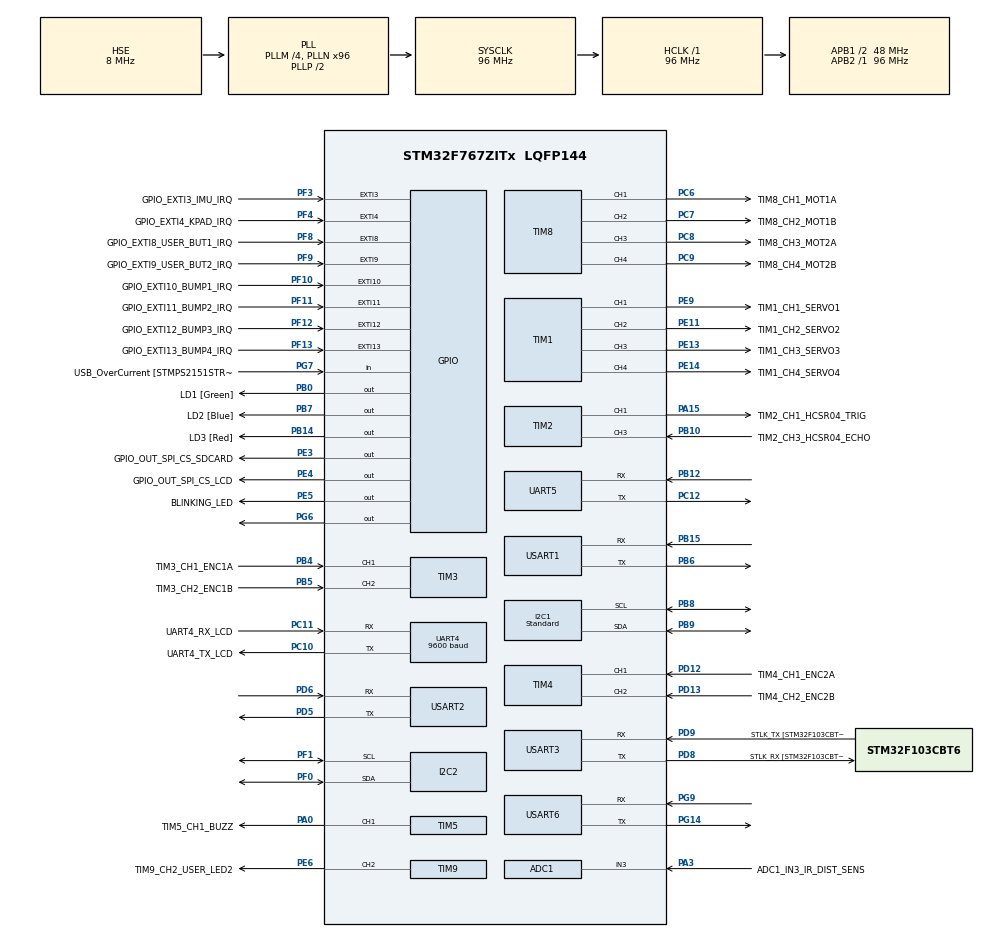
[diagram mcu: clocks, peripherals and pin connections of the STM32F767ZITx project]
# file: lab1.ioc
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ADC1.Channel-1\#ChannelRegularConversion=ADC_CHANNEL_3
ADC1.NbrOfConversionFlag=1
ADC1.Rank-1\#ChannelRegularConversion=1
ADC1.SamplingTime-1\#ChannelRegularConversion=ADC_SAMPLETIME_3CYCLES
ADC1.master=1
I2C1.I2C_Speed_Mode=I2C_Standard
I2C1.Timing=0x20303E5D
I2C2.Timing=0x20303E5D
Mcu.Family=STM32F7
Mcu.Name=STM32F767ZITx
Mcu.Package=LQFP144
Mcu.UserConstants=TIM8_PSC_VALUE,959;TIM8_ARR_VALUE,400;TIM1_PSC_VALUE,959;TIM1_ARR_VALUE,200
NVIC.EXTI4_IRQn=true\:1\:0\:true\:false\:true\:true\:true\:true
NVIC.PriorityGroup=NVIC_PRIORITYGROUP_4
NVIC.TIM6_DAC_IRQn=true\:0\:0\:false\:false\:true\:true\:true\:true
PA0/WKUP.GPIO_Label=TIM5_CH1_BUZZ
PA0/WKUP.Signal=S_TIM5_CH1
PA1.GPIO_Label=RMII_REF_CLK [LAN8742A-CZ-TR_REFCLK0]
PA1.Signal=ETH_REF_CLK
PA10.GPIO_Label=USB_ID
PA10.Signal=USB_OTG_FS_ID
PA11.GPIO_Label=USB_DM
PA11.Signal=USB_OTG_FS_DM
PA12.GPIO_Label=USB_DP
PA12.Signal=USB_OTG_FS_DP
PA13.GPIO_Label=TMS
PA13.Mode=Serial_Wire
PA13.Signal=SYS_JTMS-SWDIO
PA14.GPIO_Label=TCK
PA14.Mode=Serial_Wire
PA14.Signal=SYS_JTCK-SWCLK
PA15.GPIO_Label=TIM2_CH1_HCSR04_TRIG
PA15.Signal=S_TIM2_CH1_ETR
PA2.GPIO_Label=RMII_MDIO [LAN8742A-CZ-TR_MDIO]
PA2.Signal=ETH_MDIO
PA3.GPIO_Label=ADC1_IN3_IR_DIST_SENS
PA3.Signal=ADCx_IN3
PA7.GPIO_Label=RMII_CRS_DV [LAN8742A-CZ-TR_CRS_DV]
PA7.Signal=ETH_CRS_DV
PA8.GPIO_Label=USB_SOF [TP1]
PA8.Signal=USB_OTG_FS_SOF
PA9.GPIO_Label=USB_VBUS
PA9.Signal=USB_OTG_FS_VBUS
PB0.GPIO_Label=LD1 [Green]
PB0.Signal=GPIO_Output
PB10.GPIO_Label=TIM2_CH3_HCSR04_ECHO
PB10.Signal=S_TIM2_CH3
PB12.Mode=Asynchronous
PB12.Signal=UART5_RX
PB13.GPIO_Label=RMII_TXD1 [LAN8742A-CZ-TR_TXD1]
PB13.Signal=ETH_TXD1
PB14.GPIO_Label=LD3 [Red]
PB14.Signal=GPIO_Output
PB15.Mode=Asynchronous
PB15.Signal=USART1_RX
PB3.GPIO_Label=SWO
PB3.Signal=SYS_JTDO-SWO
PB4.GPIO_Label=TIM3_CH1_ENC1A
PB4.Signal=S_TIM3_CH1
PB5.GPIO_Label=TIM3_CH2_ENC1B
PB5.Signal=S_TIM3_CH2
PB6.Mode=Asynchronous
PB6.Signal=USART1_TX
PB7.GPIO_Label=LD2 [Blue]
PB7.Signal=GPIO_Output
PB8.GPIO_Pu=GPIO_PULLUP
PB8.Mode=I2C
PB8.Signal=I2C1_SCL
PB9.GPIO_Pu=GPIO_PULLUP
PB9.Mode=I2C
PB9.Signal=I2C1_SDA
PC1.GPIO_Label=RMII_MDC [LAN8742A-CZ-TR_MDC]
PC1.Signal=ETH_MDC
PC10.GPIO_Label=UART4_TX_LCD
PC10.Mode=Asynchronous
PC10.Signal=UART4_TX
PC11.GPIO_Label=UART4_RX_LCD
PC11.Mode=Asynchronous
PC11.Signal=UART4_RX
PC12.Mode=Asynchronous
PC12.Signal=UART5_TX
PC14/OSC32_IN.Mode=LSE-External-Oscillator
PC14/OSC32_IN.Signal=RCC_OSC32_IN
PC15/OSC32_OUT.Mode=LSE-External-Oscillator
PC15/OSC32_OUT.Signal=RCC_OSC32_OUT
PC4.GPIO_Label=RMII_RXD0 [LAN8742A-CZ-TR_RXD0]
PC4.Signal=ETH_RXD0
PC5.GPIO_Label=RMII_RXD1 [LAN8742A-CZ-TR_RXD1]
PC5.Signal=ETH_RXD1
PC6.GPIO_Label=TIM8_CH1_MOT1A
PC6.Signal=S_TIM8_CH1
PC7.GPIO_Label=TIM8_CH2_MOT1B
PC7.Signal=S_TIM8_CH2
PC8.GPIO_Label=TIM8_CH3_MOT2A
PC8.Signal=S_TIM8_CH3
PC9.GPIO_Label=TIM8_CH4_MOT2B
PC9.Signal=S_TIM8_CH4
PD12.GPIO_Label=TIM4_CH1_ENC2A
PD12.Signal=S_TIM4_CH1
PD13.GPIO_Label=TIM4_CH2_ENC2B
PD13.Signal=S_TIM4_CH2
PD5.Mode=Asynchronous
PD5.Signal=USART2_TX
PD6.Mode=Asynchronous
PD6.Signal=USART2_RX
PD8.GPIO_Label=STLK_RX [STM32F103CBT6_PA3]
PD8.Mode=Asynchronous
PD8.Signal=USART3_TX
PD9.GPIO_Label=STLK_TX [STM32F103CBT6_PA2]
PD9.Mode=Asynchronous
PD9.Signal=USART3_RX
PE11.GPIO_Label=TIM1_CH2_SERVO2
PE11.Signal=S_TIM1_CH2
PE13.GPIO_Label=TIM1_CH3_SERVO3
PE13.Signal=S_TIM1_CH3
PE14.GPIO_Label=TIM1_CH4_SERVO4
PE14.Signal=S_TIM1_CH4
PE3.GPIO_Label=GPIO_OUT_SPI_CS_SDCARD
PE3.Signal=GPIO_Output
PE4.GPIO_Label=GPIO_OUT_SPI_CS_LCD
PE4.Signal=GPIO_Output
PE5.GPIO_Label=BLINKING_LED
PE5.Signal=GPIO_Output
PE6.GPIO_Label=TIM9_CH2_USER_LED2
PE6.Signal=S_TIM9_CH2
PE9.GPIO_Label=TIM1_CH1_SERVO1
PE9.Signal=S_TIM1_CH1
PF0.GPIO_Pu=GPIO_PULLUP
PF0.Mode=I2C
PF0.Signal=I2C2_SDA
PF1.GPIO_Pu=GPIO_PULLUP
PF1.Mode=I2C
PF1.Signal=I2C2_SCL
PF10.GPIO_Label=GPIO_EXTI10_BUMP1_IRQ
PF10.Signal=GPXTI10
PF11.GPIO_Label=GPIO_EXTI11_BUMP2_IRQ
PF11.Signal=GPXTI11
PF12.GPIO_Label=GPIO_EXTI12_BUMP3_IRQ
PF12.Signal=GPXTI12
PF13.GPIO_Label=GPIO_EXTI13_BUMP4_IRQ
PF13.Signal=GPXTI13
PF3.GPIO_Label=GPIO_EXTI3_IMU_IRQ
PF3.Signal=GPXTI3
PF4.GPIO_Label=GPIO_EXTI4_KPAD_IRQ
PF4.GPIO_ModeDefaultEXTI=GPIO_MODE_IT_FALLING
PF4.Signal=GPXTI4
PF8.GPIO_Label=GPIO_EXTI8_USER_BUT1_IRQ
PF8.Signal=GPXTI8
PF9.GPIO_Label=GPIO_EXTI9_USER_BUT2_IRQ
PF9.Signal=GPXTI9
PG11.GPIO_Label=RMII_TX_EN [LAN8742A-CZ-TR_TXEN]
PG11.Signal=ETH_TX_EN
PG13.GPIO_Label=RMII_TXD0 [LAN8742A-CZ-TR_TXD0]
PG13.Signal=ETH_TXD0
PG14.Mode=Asynchronous
PG14.Signal=USART6_TX
PG6.Signal=GPIO_Output
PG7.GPIO_Label=USB_OverCurrent [STMPS2151STR_FAULT]
PG7.Signal=GPIO_Input
PG9.Mode=Asynchronous
PG9.Signal=USART6_RX
PH0/OSC_IN.GPIO_Label=MCO [STM32F103CBT6_PA8]
PH0/OSC_IN.Mode=HSE-External-Clock-Source
PH0/OSC_IN.Signal=RCC_OSC_IN
PH1/OSC_OUT.Mode=HSE-External-Clock-Source
PH1/OSC_OUT.Signal=RCC_OSC_OUT
ProjectManager.HeapSize=0x200
ProjectManager.StackSize=0x400
ProjectManager.TargetToolchain=STM32CubeIDE
RCC.48MHZClocksFreq_Value=24000000
RCC.AHBFreq_Value=96000000
RCC.APB1CLKDivider=RCC_HCLK_DIV2
RCC.APB1Freq_Value=48000000
RCC.APB1TimFreq_Value=96000000
RCC.APB2Freq_Value=96000000
RCC.APB2TimFreq_Value=96000000
RCC.CortexFreq_Value=96000000
RCC.HCLKFreq_Value=96000000
RCC.HSE_VALUE=8000000
RCC.HSI_VALUE=16000000
RCC.PLLM=4
RCC.PLLMUL=RCC_PLL_MUL9
RCC.PLLN=96
RCC.PLLQ=4
RCC.PLLSourceVirtual=RCC_PLLSOURCE_HSE
RCC.PRESCALERUSB=RCC_USBCLKSOURCE_PLL_DIV1_5
RCC.SYSCLKFreq_VALUE=96000000
RCC.SYSCLKSource=RCC_SYSCLKSOURCE_PLLCLK
RCC.SYSCLKSourceVirtual=RCC_SYSCLKSOURCE_PLLCLK
RCC.USBFreq_Value=48000000
RCC.VCOOutputFreq_Value=192000000
SH.ADCx_IN3.0=ADC1_IN3,IN3
SH.S_TIM1_CH1.0=TIM1_CH1,PWM Generation1 CH1
SH.S_TIM1_CH2.0=TIM1_CH2,PWM Generation2 CH2
SH.S_TIM1_CH3.0=TIM1_CH3,PWM Generation3 CH3
SH.S_TIM1_CH4.0=TIM1_CH4,PWM Generation4 CH4
SH.S_TIM2_CH1_ETR.0=TIM2_CH1,PWM Generation1 CH1
SH.S_TIM2_CH3.0=TIM2_CH3,Input_Capture3_from_TI3
SH.S_TIM3_CH1.0=TIM3_CH1,Encoder_Interface
SH.S_TIM3_CH2.0=TIM3_CH2,Encoder_Interface
SH.S_TIM4_CH1.0=TIM4_CH1,Encoder_Interface
SH.S_TIM4_CH2.0=TIM4_CH2,Encoder_Interface
SH.S_TIM5_CH1.0=TIM5_CH1,PWM Generation1 CH1
SH.S_TIM8_CH1.0=TIM8_CH1,PWM Generation1 CH1
SH.S_TIM8_CH2.0=TIM8_CH2,PWM Generation2 CH2
SH.S_TIM8_CH3.0=TIM8_CH3,PWM Generation3 CH3
SH.S_TIM8_CH4.0=TIM8_CH4,PWM Generation4 CH4
SH.S_TIM9_CH2.0=TIM9_CH2,PWM Generation2 CH2
TIM1.Channel-PWM\ Generation1\ CH1=TIM_CHANNEL_1
TIM1.Channel-PWM\ Generation2\ CH2=TIM_CHANNEL_2
TIM1.Channel-PWM\ Generation3\ CH3=TIM_CHANNEL_3
TIM1.Channel-PWM\ Generation4\ CH4=TIM_CHANNEL_4
TIM1.Period=TIM1_ARR_VALUE
TIM1.Prescaler=TIM1_PSC_VALUE
TIM2.Channel-Input_Capture3_from_TI3=TIM_CHANNEL_3
TIM2.Channel-PWM\ Generation1\ CH1=TIM_CHANNEL_1
TIM5.Channel-PWM\ Generation1\ CH1=TIM_CHANNEL_1
TIM6.Period=9999
TIM6.Prescaler=959
TIM8.Channel-PWM\ Generation1\ CH1=TIM_CHANNEL_1
TIM8.Channel-PWM\ Generation2\ CH2=TIM_CHANNEL_2
TIM8.Channel-PWM\ Generation3\ CH3=TIM_CHANNEL_3
TIM8.Channel-PWM\ Generation4\ CH4=TIM_CHANNEL_4
TIM8.Period=TIM8_ARR_VALUE
TIM8.Prescaler=TIM8_PSC_VALUE
TIM9.Channel-PWM\ Generation2\ CH2=TIM_CHANNEL_2
UART4.BaudRate=9600
USART1.VirtualMode-Asynchronous=VM_ASYNC
USART2.VirtualMode-Asynchronous=VM_ASYNC
USART3.VirtualMode-Asynchronous=VM_ASYNC
USART6.VirtualMode-Asynchronous=VM_ASYNC
VP_TIM1_VS_ClockSourceINT.Mode=Internal
VP_TIM2_VS_ClockSourceINT.Mode=Internal
VP_TIM5_VS_ClockSourceINT.Mode=Internal
VP_TIM6_VS_ClockSourceINT.Mode=Enable_Timer
VP_TIM8_VS_ClockSourceINT.Mode=Internal
board=NUCLEO-F767ZI

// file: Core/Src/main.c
/* USER CODE BEGIN Header */
/**
 ******************************************************************************
 * @file           : main.c
 * @brief          : Main program body
 ******************************************************************************
 * @attention
 *
 * <h2><center>&copy; Copyright (c) 2021 STMicroelectronics.
 * All rights reserved.</center></h2>
 *
 * This software component is licensed by ST under BSD 3-Clause license,
 * the "License"; You may not use this file except in compliance with the
 * License. You may obtain a copy of the License at:
 *                        opensource.org/licenses/BSD-3-Clause
 *
 ******************************************************************************
 */
/* USER CODE END Header */
#include "main.h"

/* USER CODE BEGIN Includes */

/*** NEEDED FOR ENABLING PRINTF ***/
#include <stdio.h>
#include <string.h>
#include "print_utils.h" //_write fun

/*** NEEDED FOR COMMUNICATING WITH THE SX1509 ***/
#include "SX1509_Registers.h"
#include "SX1509_Utils.h"

#include <stdbool.h>
/* USER CODE END Includes */

/* USER CODE BEGIN PD */
#define EXERCISE 5 // selects what the main loop runs: 3 (line sensor polling) or 5 (LED blinking)

#define MAX_BLINK_HZ 100 // upper bound for the frequency typed on the keypad
/* USER CODE END PD */

ADC_HandleTypeDef hadc1;

I2C_HandleTypeDef hi2c1;
I2C_HandleTypeDef hi2c2;

TIM_HandleTypeDef htim1;
TIM_HandleTypeDef htim2;
TIM_HandleTypeDef htim3;
TIM_HandleTypeDef htim4;
TIM_HandleTypeDef htim5;
TIM_HandleTypeDef htim6;
TIM_HandleTypeDef htim8;
TIM_HandleTypeDef htim9;

UART_HandleTypeDef huart4;
UART_HandleTypeDef huart5;
UART_HandleTypeDef huart1;
UART_HandleTypeDef huart2;
UART_HandleTypeDef huart3;
UART_HandleTypeDef huart6;

/* USER CODE BEGIN PV */
const char keypadLayout[4][4] = {
    {'*', '0', '#', 'D'},
    {'7', '8', '9', 'C'},
    {'4', '5', '6', 'B'},
    {'1', '2', '3', 'A'}};

// Exercise 5
volatile uint32_t ledFrequencyHz = 1; // blinking frequency
uint32_t typedFrequency = 0;          // digits typed so far
bool isTyping = false;                // true after the first digit of a new frequency
/* USER CODE END PV */

void SystemClock_Config(void);
static void MX_GPIO_Init(void);
static void MX_USART3_UART_Init(void);
static void MX_ADC1_Init(void);
static void MX_I2C1_Init(void);
static void MX_I2C2_Init(void);
static void MX_TIM1_Init(void);
static void MX_TIM2_Init(void);
static void MX_TIM3_Init(void);
static void MX_TIM4_Init(void);
static void MX_TIM5_Init(void);
static void MX_TIM8_Init(void);
static void MX_UART4_Init(void);
static void MX_UART5_Init(void);
static void MX_USART1_UART_Init(void);
static void MX_USART2_UART_Init(void);
static void MX_TIM9_Init(void);
static void MX_USART6_UART_Init(void);
static void MX_TIM6_Init(void);

/* USER CODE BEGIN 0 */

// Exercise 5
// Easy way: A, B, C, D are fixed presets (1, 2, 5, 10 Hz)
// Hard way: type the frequency with the digits and confirm with '#', '*' clears
// 0# switches the LED off
void setBlinkFrequency(char key)
{
	switch (key) {
		case 'A': ledFrequencyHz = 1;  break;
		case 'B': ledFrequencyHz = 2;  break;
		case 'C': ledFrequencyHz = 5;  break;
		case 'D': ledFrequencyHz = 10; break;
		case '*':
			typedFrequency = 0;
			isTyping = false;
			printf("Input cleared\n");
			return;
		case '#':
			if (!isTyping)
            {
				return;
            }
			ledFrequencyHz = typedFrequency;
			typedFrequency = 0;
			isTyping = false;
			break;
		default:
			if (key < '0' || key > '9')
            {
				return;
            }
			typedFrequency = typedFrequency * 10 + (key - '0');
			if (typedFrequency > MAX_BLINK_HZ)
            {
				typedFrequency = MAX_BLINK_HZ;
            }
			isTyping = true;
			printf("Typed: %lu\n", typedFrequency);
			return;
	}
	printf("Blinking frequency: %lu Hz\n", ledFrequencyHz);
}

// Exercise 1 and 2
void HAL_GPIO_EXTI_Callback(uint16_t GPIO_Pin)
{
	printf("Interrupt on pin (%d).\n", GPIO_Pin);
	uint8_t data_col = 0xFF; 	// buffer for the column's data (0xFF = no key, if the read fails)
	uint8_t data_row = 0xFF;	// buffer for the row's data
	uint8_t result = 0; 		// buffer for the bitwise operations
	char key = 0;				// pressed button on the keypad

	if (GPIO_Pin == GPIO_PIN_4)
	{
    /* Keypad interrupt */
    /**
     * Here you need to read REG_KEY_DATA_1 (status of the column of the keypad) and REG_KEY_DATA_2 (status of the row of the keypad).
     * The addresses of the register are defined in the SX1509_Registers.h file.
     * If you don't read the registers, the interrupt will be NOT triggered again.
     * For an example of how to read/write the registers, see the Init_SX1509 function in the SX1509_Utils.h file.
     */
	  HAL_I2C_Mem_Read(&hi2c1, SX1509_I2C_ADDR2 << 1, REG_KEY_DATA_1, 1, &data_col, 1, 1000);
	  HAL_I2C_Mem_Read(&hi2c1, SX1509_I2C_ADDR2 << 1, REG_KEY_DATA_2, 1, &data_row, 1, 1000);

	  // result is build s.t.:
	  // --row-- | --col--
	  //  0000   |  0000
	  uint8_t row_bits = (data_col & 0b00001111);
	  uint8_t col_bits = (data_row & 0b00001111) << 4;
	  result = row_bits + col_bits;

	  switch (result) {
	      // first row 0b0111
		  case 0b01110111: key = keypadLayout[3][3]; break; // A
		  case 0b01111011: key = keypadLayout[3][2]; break; // 3
		  case 0b01111101: key = keypadLayout[3][1]; break; // 2
		  case 0b01111110: key = keypadLayout[3][0]; break; // 1

		  // second row 0b1011
		  case 0b10110111: key = keypadLayout[2][3]; break; // B
		  case 0b10111011: key = keypadLayout[2][2]; break; // 6
		  case 0b10111101: key = keypadLayout[2][1]; break; // 5
		  case 0b10111110: key = keypadLayout[2][0]; break; // 4

		  // third row 0b1101
		  case 0b11010111: key = keypadLayout[1][3]; break; // C
		  case 0b11011011: key = keypadLayout[1][2]; break; // 9
		  case 0b11011101: key = keypadLayout[1][1]; break; // 8
		  case 0b11011110: key = keypadLayout[1][0]; break; // 7

		  // fourth row 0b1110
		  case 0b11100111: key = keypadLayout[0][3]; break; // D
		  case 0b11101011: key = keypadLayout[0][2]; break; // #
		  case 0b11101101: key = keypadLayout[0][1]; break; // 0
		  case 0b11101110: key = keypadLayout[0][0]; break; // *

		  default: printf("Error in the switch-case\n"); break;
	  }

 	  printf("Column data: %d\n", data_col);
	  printf("Row data: %d\n", data_row);
	  printf("The pressed key is %c\n", key);
	  printf("Interrupt from the keypad\n");

#if EXERCISE == 5
	  setBlinkFrequency(key); // Exercise 5
#endif
	}
}

// Exercise 4
void HAL_TIM_PeriodElapsedCallback(TIM_HandleTypeDef *htim)
{
#if EXERCISE == 4
	  	uint8_t line_data = 0;
		if (htim->Instance == TIM6) // check for TIM6 interrupt
		{
			// logic directly from Exercise 3
			if (HAL_I2C_Mem_Read(&hi2c1, SX1509_I2C_ADDR1 << 1, REG_DATA_B, 1, &line_data, 1, 1000) == HAL_OK)
			{
				printf("Line sensor: 0x%02X\n", line_data); // %02X: hex uppercase, 2 digits, zero-padded
			}
			else
			{
			    printf("Line sensor reading error\n");
			}
		}
#endif
}

/* USER CODE END 0 */

int main(void)
{
  /* USER CODE BEGIN 1 */
#if EXERCISE == 3
  uint8_t line_data = 0; // for exercise 3
#endif
  /* USER CODE END 1 */

  /* MCU Configuration--------------------------------------------------------*/

  /* Reset of all peripherals, Initializes the Flash interface and the Systick. */
  HAL_Init();

  /* Configure the system clock */
  SystemClock_Config();

  /* Initialize all configured peripherals */
  MX_GPIO_Init();
  MX_USART3_UART_Init();
  MX_ADC1_Init();
  MX_I2C1_Init();
  MX_I2C2_Init();
  MX_TIM1_Init();
  MX_TIM2_Init();
  MX_TIM3_Init();
  MX_TIM4_Init();
  MX_TIM5_Init();
  MX_TIM8_Init();
  MX_UART4_Init();
  MX_UART5_Init();
  MX_USART1_UART_Init();
  MX_USART2_UART_Init();
  MX_TIM9_Init();
  MX_USART6_UART_Init();
  MX_TIM6_Init();
  /* USER CODE BEGIN 2 */

  /* Disable LCD SPI SS */
  HAL_GPIO_WritePin(GPIO_OUT_SPI_CS_LCD_GPIO_Port, GPIO_OUT_SPI_CS_LCD_Pin, GPIO_PIN_SET);

  Init_SX1509();

#if EXERCISE == 4
  HAL_TIM_Base_Start_IT(&htim6); // Exercise 4 init
#endif

  printf("Ready\n");

  /* USER CODE END 2 */

  /* Infinite loop */
  while (1)
  {

    /* USER CODE BEGIN 3 */
#if EXERCISE == 3
		if (HAL_I2C_Mem_Read(&hi2c1, SX1509_I2C_ADDR1 << 1, REG_DATA_B, 1, &line_data, 1, 1000) == HAL_OK)
		{
			printf("Line sensor: 0x%02X\n", line_data); // %02X: hex uppercase, 2 digits, zero-padded
		}
		else
		{
			printf("Line sensor reading error\n");
		}
		HAL_Delay(100);  // polling every 100 ms
#elif EXERCISE == 5
	if (!typedFrequency || !ledFrequencyHz)
	{
		HAL_GPIO_TogglePin(BLINKING_LED_GPIO_Port, BLINKING_LED_Pin);
		HAL_Delay(1000 / (2 * ledFrequencyHz));
	}
#endif
  }
  /* USER CODE END 3 */
}

void SystemClock_Config(void)
{
  RCC_OscInitTypeDef RCC_OscInitStruct = {0};
  RCC_ClkInitTypeDef RCC_ClkInitStruct = {0};

  /** Configure LSE Drive Capability
  */
  HAL_PWR_EnableBkUpAccess();

  /** Configure the main internal regulator output voltage
  */
  __HAL_RCC_PWR_CLK_ENABLE();
  __HAL_PWR_VOLTAGESCALING_CONFIG(PWR_REGULATOR_VOLTAGE_SCALE3);

  /** Initializes the RCC Oscillators according to the specified parameters
  * in the RCC_OscInitTypeDef structure.
  */
  RCC_OscInitStruct.OscillatorType = RCC_OSCILLATORTYPE_HSE;
  RCC_OscInitStruct.HSEState = RCC_HSE_BYPASS;
  RCC_OscInitStruct.PLL.PLLState = RCC_PLL_ON;
  RCC_OscInitStruct.PLL.PLLSource = RCC_PLLSOURCE_HSE;
  RCC_OscInitStruct.PLL.PLLM = 4;
  RCC_OscInitStruct.PLL.PLLN = 96;
  RCC_OscInitStruct.PLL.PLLP = RCC_PLLP_DIV2;
  RCC_OscInitStruct.PLL.PLLQ = 4;
  RCC_OscInitStruct.PLL.PLLR = 2;
  if (HAL_RCC_OscConfig(&RCC_OscInitStruct) != HAL_OK)
  {
    Error_Handler();
  }

  /** Activate the Over-Drive mode
  */
  if (HAL_PWREx_EnableOverDrive() != HAL_OK)
  {
    Error_Handler();
  }

  /** Initializes the CPU, AHB and APB buses clocks
  */
  RCC_ClkInitStruct.ClockType = RCC_CLOCKTYPE_HCLK|RCC_CLOCKTYPE_SYSCLK
                              |RCC_CLOCKTYPE_PCLK1|RCC_CLOCKTYPE_PCLK2;
  RCC_ClkInitStruct.SYSCLKSource = RCC_SYSCLKSOURCE_PLLCLK;
  RCC_ClkInitStruct.AHBCLKDivider = RCC_SYSCLK_DIV1;
  RCC_ClkInitStruct.APB1CLKDivider = RCC_HCLK_DIV2;
  RCC_ClkInitStruct.APB2CLKDivider = RCC_HCLK_DIV1;

  if (HAL_RCC_ClockConfig(&RCC_ClkInitStruct, FLASH_LATENCY_3) != HAL_OK)
  {
    Error_Handler();
  }
}

static void MX_ADC1_Init(void)
{

  ADC_ChannelConfTypeDef sConfig = {0};

  /** Configure the global features of the ADC (Clock, Resolution, Data Alignment and number of conversion)
  */
  hadc1.Instance = ADC1;
  hadc1.Init.ClockPrescaler = ADC_CLOCK_SYNC_PCLK_DIV4;
  hadc1.Init.Resolution = ADC_RESOLUTION_12B;
  hadc1.Init.ScanConvMode = ADC_SCAN_DISABLE;
  hadc1.Init.ContinuousConvMode = DISABLE;
  hadc1.Init.DiscontinuousConvMode = DISABLE;
  hadc1.Init.ExternalTrigConvEdge = ADC_EXTERNALTRIGCONVEDGE_NONE;
  hadc1.Init.ExternalTrigConv = ADC_SOFTWARE_START;
  hadc1.Init.DataAlign = ADC_DATAALIGN_RIGHT;
  hadc1.Init.NbrOfConversion = 1;
  hadc1.Init.DMAContinuousRequests = DISABLE;
  hadc1.Init.EOCSelection = ADC_EOC_SINGLE_CONV;
  if (HAL_ADC_Init(&hadc1) != HAL_OK)
  {
    Error_Handler();
  }

  /** Configure for the selected ADC regular channel its corresponding rank in the sequencer and its sample time.
  */
  sConfig.Channel = ADC_CHANNEL_3;
  sConfig.Rank = ADC_REGULAR_RANK_1;
  sConfig.SamplingTime = ADC_SAMPLETIME_3CYCLES;
  if (HAL_ADC_ConfigChannel(&hadc1, &sConfig) != HAL_OK)
  {
    Error_Handler();
  }

}

static void MX_I2C1_Init(void)
{

  hi2c1.Instance = I2C1;
  hi2c1.Init.Timing = 0x20303E5D;
  hi2c1.Init.OwnAddress1 = 0;
  hi2c1.Init.AddressingMode = I2C_ADDRESSINGMODE_7BIT;
  hi2c1.Init.DualAddressMode = I2C_DUALADDRESS_DISABLE;
  hi2c1.Init.OwnAddress2 = 0;
  hi2c1.Init.OwnAddress2Masks = I2C_OA2_NOMASK;
  hi2c1.Init.GeneralCallMode = I2C_GENERALCALL_DISABLE;
  hi2c1.Init.NoStretchMode = I2C_NOSTRETCH_DISABLE;
  if (HAL_I2C_Init(&hi2c1) != HAL_OK)
  {
    Error_Handler();
  }

  /** Configure Analogue filter
  */
  if (HAL_I2CEx_ConfigAnalogFilter(&hi2c1, I2C_ANALOGFILTER_ENABLE) != HAL_OK)
  {
    Error_Handler();
  }

  /** Configure Digital filter
  */
  if (HAL_I2CEx_ConfigDigitalFilter(&hi2c1, 0) != HAL_OK)
  {
    Error_Handler();
  }

}

static void MX_I2C2_Init(void)
{

  hi2c2.Instance = I2C2;
  hi2c2.Init.Timing = 0x20303E5D;
  hi2c2.Init.OwnAddress1 = 0;
  hi2c2.Init.AddressingMode = I2C_ADDRESSINGMODE_7BIT;
  hi2c2.Init.DualAddressMode = I2C_DUALADDRESS_DISABLE;
  hi2c2.Init.OwnAddress2 = 0;
  hi2c2.Init.OwnAddress2Masks = I2C_OA2_NOMASK;
  hi2c2.Init.GeneralCallMode = I2C_GENERALCALL_DISABLE;
  hi2c2.Init.NoStretchMode = I2C_NOSTRETCH_DISABLE;
  if (HAL_I2C_Init(&hi2c2) != HAL_OK)
  {
    Error_Handler();
  }

  /** Configure Analogue filter
  */
  if (HAL_I2CEx_ConfigAnalogFilter(&hi2c2, I2C_ANALOGFILTER_ENABLE) != HAL_OK)
  {
    Error_Handler();
  }

  /** Configure Digital filter
  */
  if (HAL_I2CEx_ConfigDigitalFilter(&hi2c2, 0) != HAL_OK)
  {
    Error_Handler();
  }

}

static void MX_TIM1_Init(void)
{

  TIM_ClockConfigTypeDef sClockSourceConfig = {0};
  TIM_MasterConfigTypeDef sMasterConfig = {0};
  TIM_OC_InitTypeDef sConfigOC = {0};
  TIM_BreakDeadTimeConfigTypeDef sBreakDeadTimeConfig = {0};

  htim1.Instance = TIM1;
  htim1.Init.Prescaler = TIM1_PSC_VALUE;
  htim1.Init.CounterMode = TIM_COUNTERMODE_UP;
  htim1.Init.Period = TIM1_ARR_VALUE;
  htim1.Init.ClockDivision = TIM_CLOCKDIVISION_DIV1;
  htim1.Init.RepetitionCounter = 0;
  htim1.Init.AutoReloadPreload = TIM_AUTORELOAD_PRELOAD_DISABLE;
  if (HAL_TIM_Base_Init(&htim1) != HAL_OK)
  {
    Error_Handler();
  }
  sClockSourceConfig.ClockSource = TIM_CLOCKSOURCE_INTERNAL;
  if (HAL_TIM_ConfigClockSource(&htim1, &sClockSourceConfig) != HAL_OK)
  {
    Error_Handler();
  }
  if (HAL_TIM_PWM_Init(&htim1) != HAL_OK)
  {
    Error_Handler();
  }
  sMasterConfig.MasterOutputTrigger = TIM_TRGO_RESET;
  sMasterConfig.MasterOutputTrigger2 = TIM_TRGO2_RESET;
  sMasterConfig.MasterSlaveMode = TIM_MASTERSLAVEMODE_DISABLE;
  if (HAL_TIMEx_MasterConfigSynchronization(&htim1, &sMasterConfig) != HAL_OK)
  {
    Error_Handler();
  }
  sConfigOC.OCMode = TIM_OCMODE_PWM1;
  sConfigOC.Pulse = 0;
  sConfigOC.OCPolarity = TIM_OCPOLARITY_HIGH;
  sConfigOC.OCNPolarity = TIM_OCNPOLARITY_HIGH;
  sConfigOC.OCFastMode = TIM_OCFAST_DISABLE;
  sConfigOC.OCIdleState = TIM_OCIDLESTATE_RESET;
  sConfigOC.OCNIdleState = TIM_OCNIDLESTATE_RESET;
  if (HAL_TIM_PWM_ConfigChannel(&htim1, &sConfigOC, TIM_CHANNEL_1) != HAL_OK)
  {
    Error_Handler();
  }
  if (HAL_TIM_PWM_ConfigChannel(&htim1, &sConfigOC, TIM_CHANNEL_2) != HAL_OK)
  {
    Error_Handler();
  }
  if (HAL_TIM_PWM_ConfigChannel(&htim1, &sConfigOC, TIM_CHANNEL_3) != HAL_OK)
  {
    Error_Handler();
  }
  if (HAL_TIM_PWM_ConfigChannel(&htim1, &sConfigOC, TIM_CHANNEL_4) != HAL_OK)
  {
    Error_Handler();
  }
  sBreakDeadTimeConfig.OffStateRunMode = TIM_OSSR_DISABLE;
  sBreakDeadTimeConfig.OffStateIDLEMode = TIM_OSSI_DISABLE;
  sBreakDeadTimeConfig.LockLevel = TIM_LOCKLEVEL_OFF;
  sBreakDeadTimeConfig.DeadTime = 0;
  sBreakDeadTimeConfig.BreakState = TIM_BREAK_DISABLE;
  sBreakDeadTimeConfig.BreakPolarity = TIM_BREAKPOLARITY_HIGH;
  sBreakDeadTimeConfig.BreakFilter = 0;
  sBreakDeadTimeConfig.Break2State = TIM_BREAK2_DISABLE;
  sBreakDeadTimeConfig.Break2Polarity = TIM_BREAK2POLARITY_HIGH;
  sBreakDeadTimeConfig.Break2Filter = 0;
  sBreakDeadTimeConfig.AutomaticOutput = TIM_AUTOMATICOUTPUT_DISABLE;
  if (HAL_TIMEx_ConfigBreakDeadTime(&htim1, &sBreakDeadTimeConfig) != HAL_OK)
  {
    Error_Handler();
  }
  HAL_TIM_MspPostInit(&htim1);

}

static void MX_TIM2_Init(void)
{

  TIM_ClockConfigTypeDef sClockSourceConfig = {0};
  TIM_MasterConfigTypeDef sMasterConfig = {0};
  TIM_OC_InitTypeDef sConfigOC = {0};
  TIM_IC_InitTypeDef sConfigIC = {0};

  htim2.Instance = TIM2;
  htim2.Init.Prescaler = 0;
  htim2.Init.CounterMode = TIM_COUNTERMODE_UP;
  htim2.Init.Period = 4294967295;
  htim2.Init.ClockDivision = TIM_CLOCKDIVISION_DIV1;
  htim2.Init.AutoReloadPreload = TIM_AUTORELOAD_PRELOAD_DISABLE;
  if (HAL_TIM_Base_Init(&htim2) != HAL_OK)
  {
    Error_Handler();
  }
  sClockSourceConfig.ClockSource = TIM_CLOCKSOURCE_INTERNAL;
  if (HAL_TIM_ConfigClockSource(&htim2, &sClockSourceConfig) != HAL_OK)
  {
    Error_Handler();
  }
  if (HAL_TIM_PWM_Init(&htim2) != HAL_OK)
  {
    Error_Handler();
  }
  if (HAL_TIM_IC_Init(&htim2) != HAL_OK)
  {
    Error_Handler();
  }
  sMasterConfig.MasterOutputTrigger = TIM_TRGO_RESET;
  sMasterConfig.MasterSlaveMode = TIM_MASTERSLAVEMODE_DISABLE;
  if (HAL_TIMEx_MasterConfigSynchronization(&htim2, &sMasterConfig) != HAL_OK)
  {
    Error_Handler();
  }
  sConfigOC.OCMode = TIM_OCMODE_PWM1;
  sConfigOC.Pulse = 0;
  sConfigOC.OCPolarity = TIM_OCPOLARITY_HIGH;
  sConfigOC.OCFastMode = TIM_OCFAST_DISABLE;
  if (HAL_TIM_PWM_ConfigChannel(&htim2, &sConfigOC, TIM_CHANNEL_1) != HAL_OK)
  {
    Error_Handler();
  }
  sConfigIC.ICPolarity = TIM_INPUTCHANNELPOLARITY_RISING;
  sConfigIC.ICSelection = TIM_ICSELECTION_DIRECTTI;
  sConfigIC.ICPrescaler = TIM_ICPSC_DIV1;
  sConfigIC.ICFilter = 0;
  if (HAL_TIM_IC_ConfigChannel(&htim2, &sConfigIC, TIM_CHANNEL_3) != HAL_OK)
  {
    Error_Handler();
  }
  HAL_TIM_MspPostInit(&htim2);

}

static void MX_TIM3_Init(void)
{

  TIM_Encoder_InitTypeDef sConfig = {0};
  TIM_MasterConfigTypeDef sMasterConfig = {0};

  htim3.Instance = TIM3;
  htim3.Init.Prescaler = 0;
  htim3.Init.CounterMode = TIM_COUNTERMODE_UP;
  htim3.Init.Period = 65535;
  htim3.Init.ClockDivision = TIM_CLOCKDIVISION_DIV1;
  htim3.Init.AutoReloadPreload = TIM_AUTORELOAD_PRELOAD_DISABLE;
  sConfig.EncoderMode = TIM_ENCODERMODE_TI1;
  sConfig.IC1Polarity = TIM_ICPOLARITY_RISING;
  sConfig.IC1Selection = TIM_ICSELECTION_DIRECTTI;
  sConfig.IC1Prescaler = TIM_ICPSC_DIV1;
  sConfig.IC1Filter = 0;
  sConfig.IC2Polarity = TIM_ICPOLARITY_RISING;
  sConfig.IC2Selection = TIM_ICSELECTION_DIRECTTI;
  sConfig.IC2Prescaler = TIM_ICPSC_DIV1;
  sConfig.IC2Filter = 0;
  if (HAL_TIM_Encoder_Init(&htim3, &sConfig) != HAL_OK)
  {
    Error_Handler();
  }
  sMasterConfig.MasterOutputTrigger = TIM_TRGO_RESET;
  sMasterConfig.MasterSlaveMode = TIM_MASTERSLAVEMODE_DISABLE;
  if (HAL_TIMEx_MasterConfigSynchronization(&htim3, &sMasterConfig) != HAL_OK)
  {
    Error_Handler();
  }

}

static void MX_TIM4_Init(void)
{

  TIM_Encoder_InitTypeDef sConfig = {0};
  TIM_MasterConfigTypeDef sMasterConfig = {0};

  htim4.Instance = TIM4;
  htim4.Init.Prescaler = 0;
  htim4.Init.CounterMode = TIM_COUNTERMODE_UP;
  htim4.Init.Period = 65535;
  htim4.Init.ClockDivision = TIM_CLOCKDIVISION_DIV1;
  htim4.Init.AutoReloadPreload = TIM_AUTORELOAD_PRELOAD_DISABLE;
  sConfig.EncoderMode = TIM_ENCODERMODE_TI1;
  sConfig.IC1Polarity = TIM_ICPOLARITY_RISING;
  sConfig.IC1Selection = TIM_ICSELECTION_DIRECTTI;
  sConfig.IC1Prescaler = TIM_ICPSC_DIV1;
  sConfig.IC1Filter = 0;
  sConfig.IC2Polarity = TIM_ICPOLARITY_RISING;
  sConfig.IC2Selection = TIM_ICSELECTION_DIRECTTI;
  sConfig.IC2Prescaler = TIM_ICPSC_DIV1;
  sConfig.IC2Filter = 0;
  if (HAL_TIM_Encoder_Init(&htim4, &sConfig) != HAL_OK)
  {
    Error_Handler();
  }
  sMasterConfig.MasterOutputTrigger = TIM_TRGO_RESET;
  sMasterConfig.MasterSlaveMode = TIM_MASTERSLAVEMODE_DISABLE;
  if (HAL_TIMEx_MasterConfigSynchronization(&htim4, &sMasterConfig) != HAL_OK)
  {
    Error_Handler();
  }

}

static void MX_TIM5_Init(void)
{

  TIM_ClockConfigTypeDef sClockSourceConfig = {0};
  TIM_MasterConfigTypeDef sMasterConfig = {0};
  TIM_OC_InitTypeDef sConfigOC = {0};

  htim5.Instance = TIM5;
  htim5.Init.Prescaler = 0;
  htim5.Init.CounterMode = TIM_COUNTERMODE_UP;
  htim5.Init.Period = 4294967295;
  htim5.Init.ClockDivision = TIM_CLOCKDIVISION_DIV1;
  htim5.Init.AutoReloadPreload = TIM_AUTORELOAD_PRELOAD_DISABLE;
  if (HAL_TIM_Base_Init(&htim5) != HAL_OK)
  {
    Error_Handler();
  }
  sClockSourceConfig.ClockSource = TIM_CLOCKSOURCE_INTERNAL;
  if (HAL_TIM_ConfigClockSource(&htim5, &sClockSourceConfig) != HAL_OK)
  {
    Error_Handler();
  }
  if (HAL_TIM_PWM_Init(&htim5) != HAL_OK)
  {
    Error_Handler();
  }
  sMasterConfig.MasterOutputTrigger = TIM_TRGO_RESET;
  sMasterConfig.MasterSlaveMode = TIM_MASTERSLAVEMODE_DISABLE;
  if (HAL_TIMEx_MasterConfigSynchronization(&htim5, &sMasterConfig) != HAL_OK)
  {
    Error_Handler();
  }
  sConfigOC.OCMode = TIM_OCMODE_PWM1;
  sConfigOC.Pulse = 0;
  sConfigOC.OCPolarity = TIM_OCPOLARITY_HIGH;
  sConfigOC.OCFastMode = TIM_OCFAST_DISABLE;
  if (HAL_TIM_PWM_ConfigChannel(&htim5, &sConfigOC, TIM_CHANNEL_1) != HAL_OK)
  {
    Error_Handler();
  }
  HAL_TIM_MspPostInit(&htim5);

}

static void MX_TIM6_Init(void)
{

  TIM_MasterConfigTypeDef sMasterConfig = {0};

  htim6.Instance = TIM6;
  htim6.Init.Prescaler = 959;
  htim6.Init.CounterMode = TIM_COUNTERMODE_UP;
  htim6.Init.Period = 9999;
  htim6.Init.AutoReloadPreload = TIM_AUTORELOAD_PRELOAD_DISABLE;
  if (HAL_TIM_Base_Init(&htim6) != HAL_OK)
  {
    Error_Handler();
  }
  sMasterConfig.MasterOutputTrigger = TIM_TRGO_RESET;
  sMasterConfig.MasterSlaveMode = TIM_MASTERSLAVEMODE_DISABLE;
  if (HAL_TIMEx_MasterConfigSynchronization(&htim6, &sMasterConfig) != HAL_OK)
  {
    Error_Handler();
  }

}

static void MX_TIM8_Init(void)
{

  TIM_ClockConfigTypeDef sClockSourceConfig = {0};
  TIM_MasterConfigTypeDef sMasterConfig = {0};
  TIM_OC_InitTypeDef sConfigOC = {0};
  TIM_BreakDeadTimeConfigTypeDef sBreakDeadTimeConfig = {0};

  htim8.Instance = TIM8;
  htim8.Init.Prescaler = TIM8_PSC_VALUE;
  htim8.Init.CounterMode = TIM_COUNTERMODE_UP;
  htim8.Init.Period = TIM8_ARR_VALUE;
  htim8.Init.ClockDivision = TIM_CLOCKDIVISION_DIV1;
  htim8.Init.RepetitionCounter = 0;
  htim8.Init.AutoReloadPreload = TIM_AUTORELOAD_PRELOAD_DISABLE;
  if (HAL_TIM_Base_Init(&htim8) != HAL_OK)
  {
    Error_Handler();
  }
  sClockSourceConfig.ClockSource = TIM_CLOCKSOURCE_INTERNAL;
  if (HAL_TIM_ConfigClockSource(&htim8, &sClockSourceConfig) != HAL_OK)
  {
    Error_Handler();
  }
  if (HAL_TIM_PWM_Init(&htim8) != HAL_OK)
  {
    Error_Handler();
  }
  sMasterConfig.MasterOutputTrigger = TIM_TRGO_RESET;
  sMasterConfig.MasterOutputTrigger2 = TIM_TRGO2_RESET;
  sMasterConfig.MasterSlaveMode = TIM_MASTERSLAVEMODE_DISABLE;
  if (HAL_TIMEx_MasterConfigSynchronization(&htim8, &sMasterConfig) != HAL_OK)
  {
    Error_Handler();
  }
  sConfigOC.OCMode = TIM_OCMODE_PWM1;
  sConfigOC.Pulse = 0;
  sConfigOC.OCPolarity = TIM_OCPOLARITY_HIGH;
  sConfigOC.OCNPolarity = TIM_OCNPOLARITY_HIGH;
  sConfigOC.OCFastMode = TIM_OCFAST_DISABLE;
  sConfigOC.OCIdleState = TIM_OCIDLESTATE_RESET;
  sConfigOC.OCNIdleState = TIM_OCNIDLESTATE_RESET;
  if (HAL_TIM_PWM_ConfigChannel(&htim8, &sConfigOC, TIM_CHANNEL_1) != HAL_OK)
  {
    Error_Handler();
  }
  if (HAL_TIM_PWM_ConfigChannel(&htim8, &sConfigOC, TIM_CHANNEL_2) != HAL_OK)
  {
    Error_Handler();
  }
  if (HAL_TIM_PWM_ConfigChannel(&htim8, &sConfigOC, TIM_CHANNEL_3) != HAL_OK)
  {
    Error_Handler();
  }
  if (HAL_TIM_PWM_ConfigChannel(&htim8, &sConfigOC, TIM_CHANNEL_4) != HAL_OK)
  {
    Error_Handler();
  }
  sBreakDeadTimeConfig.OffStateRunMode = TIM_OSSR_DISABLE;
  sBreakDeadTimeConfig.OffStateIDLEMode = TIM_OSSI_DISABLE;
  sBreakDeadTimeConfig.LockLevel = TIM_LOCKLEVEL_OFF;
  sBreakDeadTimeConfig.DeadTime = 0;
  sBreakDeadTimeConfig.BreakState = TIM_BREAK_DISABLE;
  sBreakDeadTimeConfig.BreakPolarity = TIM_BREAKPOLARITY_HIGH;
  sBreakDeadTimeConfig.BreakFilter = 0;
  sBreakDeadTimeConfig.Break2State = TIM_BREAK2_DISABLE;
  sBreakDeadTimeConfig.Break2Polarity = TIM_BREAK2POLARITY_HIGH;
  sBreakDeadTimeConfig.Break2Filter = 0;
  sBreakDeadTimeConfig.AutomaticOutput = TIM_AUTOMATICOUTPUT_DISABLE;
  if (HAL_TIMEx_ConfigBreakDeadTime(&htim8, &sBreakDeadTimeConfig) != HAL_OK)
  {
    Error_Handler();
  }
  HAL_TIM_MspPostInit(&htim8);

}

static void MX_TIM9_Init(void)
{

  TIM_OC_InitTypeDef sConfigOC = {0};

  htim9.Instance = TIM9;
  htim9.Init.Prescaler = 0;
  htim9.Init.CounterMode = TIM_COUNTERMODE_UP;
  htim9.Init.Period = 65535;
  htim9.Init.ClockDivision = TIM_CLOCKDIVISION_DIV1;
  htim9.Init.AutoReloadPreload = TIM_AUTORELOAD_PRELOAD_DISABLE;
  if (HAL_TIM_PWM_Init(&htim9) != HAL_OK)
  {
    Error_Handler();
  }
  sConfigOC.OCMode = TIM_OCMODE_PWM1;
  sConfigOC.Pulse = 0;
  sConfigOC.OCPolarity = TIM_OCPOLARITY_HIGH;
  sConfigOC.OCFastMode = TIM_OCFAST_DISABLE;
  if (HAL_TIM_PWM_ConfigChannel(&htim9, &sConfigOC, TIM_CHANNEL_2) != HAL_OK)
  {
    Error_Handler();
  }
  HAL_TIM_MspPostInit(&htim9);

}

static void MX_UART4_Init(void)
{

  huart4.Instance = UART4;
  huart4.Init.BaudRate = 9600;
  huart4.Init.WordLength = UART_WORDLENGTH_8B;
  huart4.Init.StopBits = UART_STOPBITS_1;
  huart4.Init.Parity = UART_PARITY_NONE;
  huart4.Init.Mode = UART_MODE_TX_RX;
  huart4.Init.HwFlowCtl = UART_HWCONTROL_NONE;
  huart4.Init.OverSampling = UART_OVERSAMPLING_16;
  huart4.Init.OneBitSampling = UART_ONE_BIT_SAMPLE_DISABLE;
  huart4.AdvancedInit.AdvFeatureInit = UART_ADVFEATURE_NO_INIT;
  if (HAL_UART_Init(&huart4) != HAL_OK)
  {
    Error_Handler();
  }

}

static void MX_UART5_Init(void)
{

  huart5.Instance = UART5;
  huart5.Init.BaudRate = 115200;
  huart5.Init.WordLength = UART_WORDLENGTH_8B;
  huart5.Init.StopBits = UART_STOPBITS_1;
  huart5.Init.Parity = UART_PARITY_NONE;
  huart5.Init.Mode = UART_MODE_TX_RX;
  huart5.Init.HwFlowCtl = UART_HWCONTROL_NONE;
  huart5.Init.OverSampling = UART_OVERSAMPLING_16;
  huart5.Init.OneBitSampling = UART_ONE_BIT_SAMPLE_DISABLE;
  huart5.AdvancedInit.AdvFeatureInit = UART_ADVFEATURE_NO_INIT;
  if (HAL_UART_Init(&huart5) != HAL_OK)
  {
    Error_Handler();
  }

}

static void MX_USART1_UART_Init(void)
{

  huart1.Instance = USART1;
  huart1.Init.BaudRate = 115200;
  huart1.Init.WordLength = UART_WORDLENGTH_8B;
  huart1.Init.StopBits = UART_STOPBITS_1;
  huart1.Init.Parity = UART_PARITY_NONE;
  huart1.Init.Mode = UART_MODE_TX_RX;
  huart1.Init.HwFlowCtl = UART_HWCONTROL_NONE;
  huart1.Init.OverSampling = UART_OVERSAMPLING_16;
  huart1.Init.OneBitSampling = UART_ONE_BIT_SAMPLE_DISABLE;
  huart1.AdvancedInit.AdvFeatureInit = UART_ADVFEATURE_NO_INIT;
  if (HAL_UART_Init(&huart1) != HAL_OK)
  {
    Error_Handler();
  }

}

static void MX_USART2_UART_Init(void)
{

  huart2.Instance = USART2;
  huart2.Init.BaudRate = 115200;
  huart2.Init.WordLength = UART_WORDLENGTH_8B;
  huart2.Init.StopBits = UART_STOPBITS_1;
  huart2.Init.Parity = UART_PARITY_NONE;
  huart2.Init.Mode = UART_MODE_TX_RX;
  huart2.Init.HwFlowCtl = UART_HWCONTROL_NONE;
  huart2.Init.OverSampling = UART_OVERSAMPLING_16;
  huart2.Init.OneBitSampling = UART_ONE_BIT_SAMPLE_DISABLE;
  huart2.AdvancedInit.AdvFeatureInit = UART_ADVFEATURE_NO_INIT;
  if (HAL_UART_Init(&huart2) != HAL_OK)
  {
    Error_Handler();
  }

}

static void MX_USART3_UART_Init(void)
{

  huart3.Instance = USART3;
  huart3.Init.BaudRate = 115200;
  huart3.Init.WordLength = UART_WORDLENGTH_8B;
  huart3.Init.StopBits = UART_STOPBITS_1;
  huart3.Init.Parity = UART_PARITY_NONE;
  huart3.Init.Mode = UART_MODE_TX_RX;
  huart3.Init.HwFlowCtl = UART_HWCONTROL_NONE;
  huart3.Init.OverSampling = UART_OVERSAMPLING_16;
  huart3.Init.OneBitSampling = UART_ONE_BIT_SAMPLE_DISABLE;
  huart3.AdvancedInit.AdvFeatureInit = UART_ADVFEATURE_NO_INIT;
  if (HAL_UART_Init(&huart3) != HAL_OK)
  {
    Error_Handler();
  }

}

static void MX_USART6_UART_Init(void)
{

  huart6.Instance = USART6;
  huart6.Init.BaudRate = 115200;
  huart6.Init.WordLength = UART_WORDLENGTH_8B;
  huart6.Init.StopBits = UART_STOPBITS_1;
  huart6.Init.Parity = UART_PARITY_NONE;
  huart6.Init.Mode = UART_MODE_TX_RX;
  huart6.Init.HwFlowCtl = UART_HWCONTROL_NONE;
  huart6.Init.OverSampling = UART_OVERSAMPLING_16;
  huart6.Init.OneBitSampling = UART_ONE_BIT_SAMPLE_DISABLE;
  huart6.AdvancedInit.AdvFeatureInit = UART_ADVFEATURE_NO_INIT;
  if (HAL_UART_Init(&huart6) != HAL_OK)
  {
    Error_Handler();
  }

}

static void MX_GPIO_Init(void)
{
  GPIO_InitTypeDef GPIO_InitStruct = {0};

  /* GPIO Ports Clock Enable */
  __HAL_RCC_GPIOE_CLK_ENABLE();
  __HAL_RCC_GPIOC_CLK_ENABLE();
  __HAL_RCC_GPIOF_CLK_ENABLE();
  __HAL_RCC_GPIOH_CLK_ENABLE();
  __HAL_RCC_GPIOA_CLK_ENABLE();
  __HAL_RCC_GPIOB_CLK_ENABLE();
  __HAL_RCC_GPIOD_CLK_ENABLE();
  __HAL_RCC_GPIOG_CLK_ENABLE();

  /*Configure GPIO pin Output Level */
  HAL_GPIO_WritePin(GPIOE, GPIO_OUT_SPI_CS_SDCARD_Pin|GPIO_OUT_SPI_CS_LCD_Pin|BLINKING_LED_Pin, GPIO_PIN_RESET);

  /*Configure GPIO pin Output Level */
  HAL_GPIO_WritePin(GPIOB, LD1_Pin|LD3_Pin|LD2_Pin, GPIO_PIN_RESET);

  /*Configure GPIO pin Output Level */
  HAL_GPIO_WritePin(GPIOG, GPIO_PIN_6, GPIO_PIN_RESET);

  /*Configure GPIO pins : GPIO_OUT_SPI_CS_SDCARD_Pin GPIO_OUT_SPI_CS_LCD_Pin BLINKING_LED_Pin */
  GPIO_InitStruct.Pin = GPIO_OUT_SPI_CS_SDCARD_Pin|GPIO_OUT_SPI_CS_LCD_Pin|BLINKING_LED_Pin;
  GPIO_InitStruct.Mode = GPIO_MODE_OUTPUT_PP;
  GPIO_InitStruct.Pull = GPIO_NOPULL;
  GPIO_InitStruct.Speed = GPIO_SPEED_FREQ_LOW;
  HAL_GPIO_Init(GPIOE, &GPIO_InitStruct);

  /*Configure GPIO pins : GPIO_EXTI3_IMU_IRQ_Pin GPIO_EXTI8_USER_BUT1_IRQ_Pin GPIO_EXTI9_USER_BUT2_IRQ_Pin GPIO_EXTI10_BUMP1_IRQ_Pin
                           GPIO_EXTI11_BUMP2_IRQ_Pin GPIO_EXTI12_BUMP3_IRQ_Pin GPIO_EXTI13_BUMP4_IRQ_Pin */
  GPIO_InitStruct.Pin = GPIO_EXTI3_IMU_IRQ_Pin|GPIO_EXTI8_USER_BUT1_IRQ_Pin|GPIO_EXTI9_USER_BUT2_IRQ_Pin|GPIO_EXTI10_BUMP1_IRQ_Pin
                          |GPIO_EXTI11_BUMP2_IRQ_Pin|GPIO_EXTI12_BUMP3_IRQ_Pin|GPIO_EXTI13_BUMP4_IRQ_Pin;
  GPIO_InitStruct.Mode = GPIO_MODE_IT_RISING;
  GPIO_InitStruct.Pull = GPIO_NOPULL;
  HAL_GPIO_Init(GPIOF, &GPIO_InitStruct);

  /*Configure GPIO pin : GPIO_EXTI4_KPAD_IRQ_Pin */
  GPIO_InitStruct.Pin = GPIO_EXTI4_KPAD_IRQ_Pin;
  GPIO_InitStruct.Mode = GPIO_MODE_IT_FALLING;
  GPIO_InitStruct.Pull = GPIO_NOPULL;
  HAL_GPIO_Init(GPIO_EXTI4_KPAD_IRQ_GPIO_Port, &GPIO_InitStruct);

  /*Configure GPIO pins : RMII_MDC_Pin RMII_RXD0_Pin RMII_RXD1_Pin */
  GPIO_InitStruct.Pin = RMII_MDC_Pin|RMII_RXD0_Pin|RMII_RXD1_Pin;
  GPIO_InitStruct.Mode = GPIO_MODE_AF_PP;
  GPIO_InitStruct.Pull = GPIO_NOPULL;
  GPIO_InitStruct.Speed = GPIO_SPEED_FREQ_VERY_HIGH;
  GPIO_InitStruct.Alternate = GPIO_AF11_ETH;
  HAL_GPIO_Init(GPIOC, &GPIO_InitStruct);

  /*Configure GPIO pins : RMII_REF_CLK_Pin RMII_MDIO_Pin RMII_CRS_DV_Pin */
  GPIO_InitStruct.Pin = RMII_REF_CLK_Pin|RMII_MDIO_Pin|RMII_CRS_DV_Pin;
  GPIO_InitStruct.Mode = GPIO_MODE_AF_PP;
  GPIO_InitStruct.Pull = GPIO_NOPULL;
  GPIO_InitStruct.Speed = GPIO_SPEED_FREQ_VERY_HIGH;
  GPIO_InitStruct.Alternate = GPIO_AF11_ETH;
  HAL_GPIO_Init(GPIOA, &GPIO_InitStruct);

  /*Configure GPIO pins : LD1_Pin LD3_Pin LD2_Pin */
  GPIO_InitStruct.Pin = LD1_Pin|LD3_Pin|LD2_Pin;
  GPIO_InitStruct.Mode = GPIO_MODE_OUTPUT_PP;
  GPIO_InitStruct.Pull = GPIO_NOPULL;
  GPIO_InitStruct.Speed = GPIO_SPEED_FREQ_LOW;
  HAL_GPIO_Init(GPIOB, &GPIO_InitStruct);

  /*Configure GPIO pin : RMII_TXD1_Pin */
  GPIO_InitStruct.Pin = RMII_TXD1_Pin;
  GPIO_InitStruct.Mode = GPIO_MODE_AF_PP;
  GPIO_InitStruct.Pull = GPIO_NOPULL;
  GPIO_InitStruct.Speed = GPIO_SPEED_FREQ_VERY_HIGH;
  GPIO_InitStruct.Alternate = GPIO_AF11_ETH;
  HAL_GPIO_Init(RMII_TXD1_GPIO_Port, &GPIO_InitStruct);

  /*Configure GPIO pin : PG6 */
  GPIO_InitStruct.Pin = GPIO_PIN_6;
  GPIO_InitStruct.Mode = GPIO_MODE_OUTPUT_PP;
  GPIO_InitStruct.Pull = GPIO_NOPULL;
  GPIO_InitStruct.Speed = GPIO_SPEED_FREQ_LOW;
  HAL_GPIO_Init(GPIOG, &GPIO_InitStruct);

  /*Configure GPIO pin : USB_OverCurrent_Pin */
  GPIO_InitStruct.Pin = USB_OverCurrent_Pin;
  GPIO_InitStruct.Mode = GPIO_MODE_INPUT;
  GPIO_InitStruct.Pull = GPIO_NOPULL;
  HAL_GPIO_Init(USB_OverCurrent_GPIO_Port, &GPIO_InitStruct);

  /*Configure GPIO pins : USB_SOF_Pin USB_ID_Pin USB_DM_Pin USB_DP_Pin */
  GPIO_InitStruct.Pin = USB_SOF_Pin|USB_ID_Pin|USB_DM_Pin|USB_DP_Pin;
  GPIO_InitStruct.Mode = GPIO_MODE_AF_PP;
  GPIO_InitStruct.Pull = GPIO_NOPULL;
  GPIO_InitStruct.Speed = GPIO_SPEED_FREQ_VERY_HIGH;
  GPIO_InitStruct.Alternate = GPIO_AF10_OTG_FS;
  HAL_GPIO_Init(GPIOA, &GPIO_InitStruct);

  /*Configure GPIO pin : USB_VBUS_Pin */
  GPIO_InitStruct.Pin = USB_VBUS_Pin;
  GPIO_InitStruct.Mode = GPIO_MODE_INPUT;
  GPIO_InitStruct.Pull = GPIO_NOPULL;
  HAL_GPIO_Init(USB_VBUS_GPIO_Port, &GPIO_InitStruct);

  /*Configure GPIO pins : RMII_TX_EN_Pin RMII_TXD0_Pin */
  GPIO_InitStruct.Pin = RMII_TX_EN_Pin|RMII_TXD0_Pin;
  GPIO_InitStruct.Mode = GPIO_MODE_AF_PP;
  GPIO_InitStruct.Pull = GPIO_NOPULL;
  GPIO_InitStruct.Speed = GPIO_SPEED_FREQ_VERY_HIGH;
  GPIO_InitStruct.Alternate = GPIO_AF11_ETH;
  HAL_GPIO_Init(GPIOG, &GPIO_InitStruct);

  /* EXTI interrupt init*/
  HAL_NVIC_SetPriority(EXTI4_IRQn, 1, 0);
  HAL_NVIC_EnableIRQ(EXTI4_IRQn);

}

void Error_Handler(void)
{
  __disable_irq();
  while (1)
  {
  }
}
